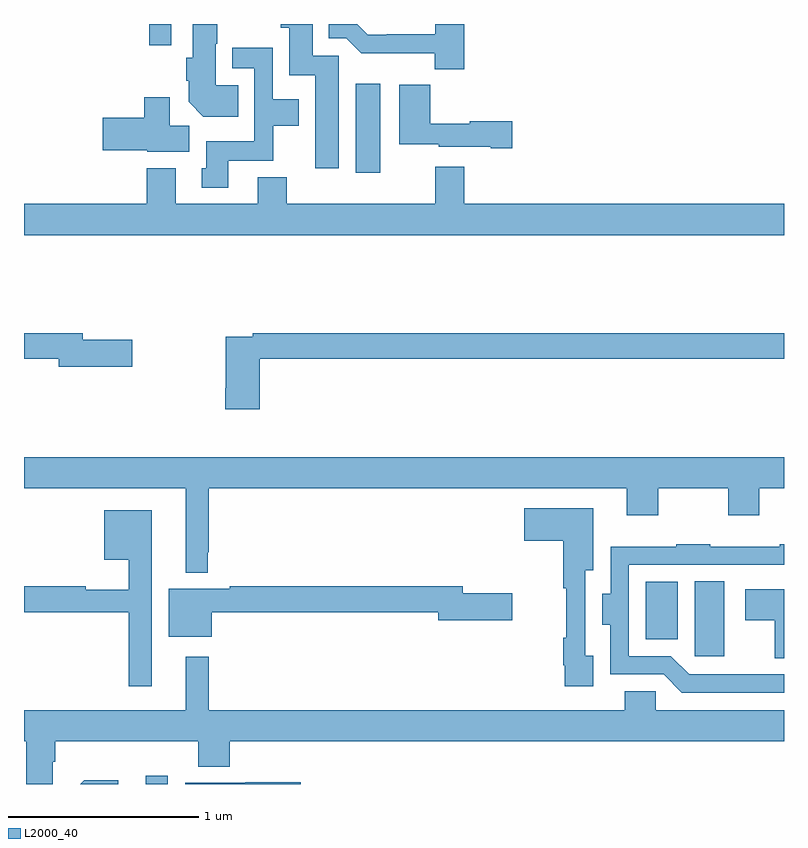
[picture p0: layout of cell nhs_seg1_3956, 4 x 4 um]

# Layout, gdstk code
import gdstk
lib = gdstk.Library(unit=1e-6, precision=1e-09)
def R(c, l, rs):  # rectangles x0, y0, x1, y1
    for r in rs: c.add(gdstk.rectangle(r[:2], r[2:], *l))
def P(c, l, *ps):  # polygons
    for p in ps: c.add(gdstk.Polygon(p, *l))
L2000_40 = (2000, 40)

nhs_seg1_3956 = lib.new_cell('nhs_seg1_3956')
R(nhs_seg1_3956, L2000_40, [(327.641,526.199,327.756,526.243), (330.53,526.871,330.685,527.267), (330.272,526.961,330.442,527.263), (328.745,529.416,328.876,529.885), (327.658,530.088,327.774,530.199)])
P(nhs_seg1_3956, L2000_40, [(328.657,530.031),(328.519,530.031),(328.519,530.199),(328.351,530.199),(328.351,530.179),(328.397,530.179),(328.397,529.928),(328.532,529.928),(328.532,529.44),(328.657,529.44)],
  [(329.318,530.199),(329.165,530.199),(329.165,530.145),(328.909,530.145),(328.909,530.142),(328.81,530.142),(328.753,530.199),(328.604,530.199),(328.604,530.124),(328.695,530.124),(328.774,530.046),(329.163,530.046),(329.163,529.961),(329.318,529.961)],
  [(328.127,529.876),(328.009,529.876),(328.009,530.096),(328.017,530.096),(328.017,530.199),(327.887,530.199),(327.887,530.022),(327.854,530.022),(327.854,529.9),(327.866,529.9),(327.866,529.79),(327.944,529.712),(328.127,529.712)],
  [(328.075,529.478),(328.311,529.478),(328.311,529.664),(328.447,529.664),(328.447,529.804),(328.308,529.804),(328.308,530.074),(328.095,530.074),(328.095,529.965),(328.212,529.965),(328.212,529.582),(327.959,529.582),(327.959,529.44),(327.935,529.44),(327.935,529.338),(328.075,529.338)],
  [(329.569,529.688),(329.346,529.688),(329.346,529.675),(329.138,529.675),(329.138,529.879),(328.976,529.879),(328.976,529.565),(329.184,529.565),(329.184,529.553),(329.456,529.553),(329.456,529.546),(329.569,529.546)],
  [(327.871,529.664),(327.766,529.664),(327.766,529.813),(327.632,529.813),(327.632,529.706),(327.414,529.706),(327.414,529.535),(327.648,529.535),(327.648,529.526),(327.871,529.526)],
  [(331,529.252),(329.318,529.252),(329.318,529.447),(329.165,529.447),(329.165,529.252),(328.382,529.252),(328.382,529.393),(328.229,529.393),(328.229,529.252),(327.799,529.252),(327.799,529.441),(327.647,529.441),(327.647,529.252),(327,529.252),(327,529.088),(331,529.088)],
  [(328.241,528.436),(331,528.436),(331,528.572),(328.204,528.572),(328.204,528.552),(328.063,528.552),(328.063,528.283),(328.058,528.283),(328.058,528.171),(328.241,528.171)],
  [(327.571,528.536),(327.31,528.536),(327.31,528.572),(327,528.572),(327,528.436),(327.182,528.436),(327.182,528.394),(327.571,528.394)],
  [(327.966,527.419),(327.973,527.419),(327.973,527.756),(330.173,527.756),(330.173,527.613),(330.337,527.613),(330.337,527.756),(330.707,527.756),(330.707,527.613),(330.871,527.613),(330.871,527.756),(331,527.756),(331,527.92),(327,527.92),(327,527.756),(327.851,527.756),(327.851,527.312),(327.966,527.312)],
  [(329.995,526.873),(329.955,526.873),(329.955,527.324),(329.995,527.324),(329.995,527.65),(329.634,527.65),(329.634,527.48),(329.839,527.48),(329.839,527.228),(329.854,527.228),(329.854,526.969),(329.839,526.969),(329.839,526.825),(329.847,526.825),(329.847,526.713),(329.995,526.713)],
  [(327.673,527.641),(327.422,527.641),(327.422,527.378),(327.552,527.378),(327.552,527.221),(327.326,527.221),(327.326,527.24),(327,527.24),(327,527.104),(327.552,527.104),(327.552,526.713),(327.673,526.713)],
  [(331,526.776),(330.501,526.776),(330.405,526.872),(330.183,526.872),(330.183,527.352),(331,527.352),(331,527.461),(330.977,527.461),(330.977,527.449),(330.611,527.449),(330.611,527.461),(330.433,527.461),(330.433,527.449),(330.087,527.449),(330.087,527.2),(330.044,527.2),(330.044,527.036),(330.086,527.036),(330.086,526.776),(330.366,526.776),(330.462,526.68),(331,526.68)],
  [(327.988,527.104),(329.18,527.104),(329.18,527.062),(329.569,527.062),(329.569,527.204),(329.308,527.204),(329.308,527.24),(328.084,527.24),(328.084,527.227),(327.761,527.227),(327.761,526.973),(327.988,526.973)],
  [(331,527.224),(330.795,527.224),(330.795,527.06),(330.95,527.06),(330.95,526.861),(331,526.861)],
  [(327.15,526.315),(327.164,526.315),(327.164,526.424),(327.917,526.424),(327.917,526.291),(328.082,526.291),(328.082,526.424),(331,526.424),(331,526.588),(330.324,526.588),(330.324,526.686),(330.161,526.686),(330.161,526.588),(327.973,526.588),(327.973,526.87),(327.851,526.87),(327.851,526.588),(327,526.588),(327,526.424),(327.011,526.424),(327.011,526.199),(327.15,526.199)],
  [(327.496,526.22),(327.317,526.22),(327.296,526.199),(327.496,526.199)],
  [(328.457,526.208),(328.165,526.208),(328.165,526.206),(327.849,526.206),(327.849,526.199),(328.457,526.199)])

lib.write_gds('nhs_seg1_3956.gds')
